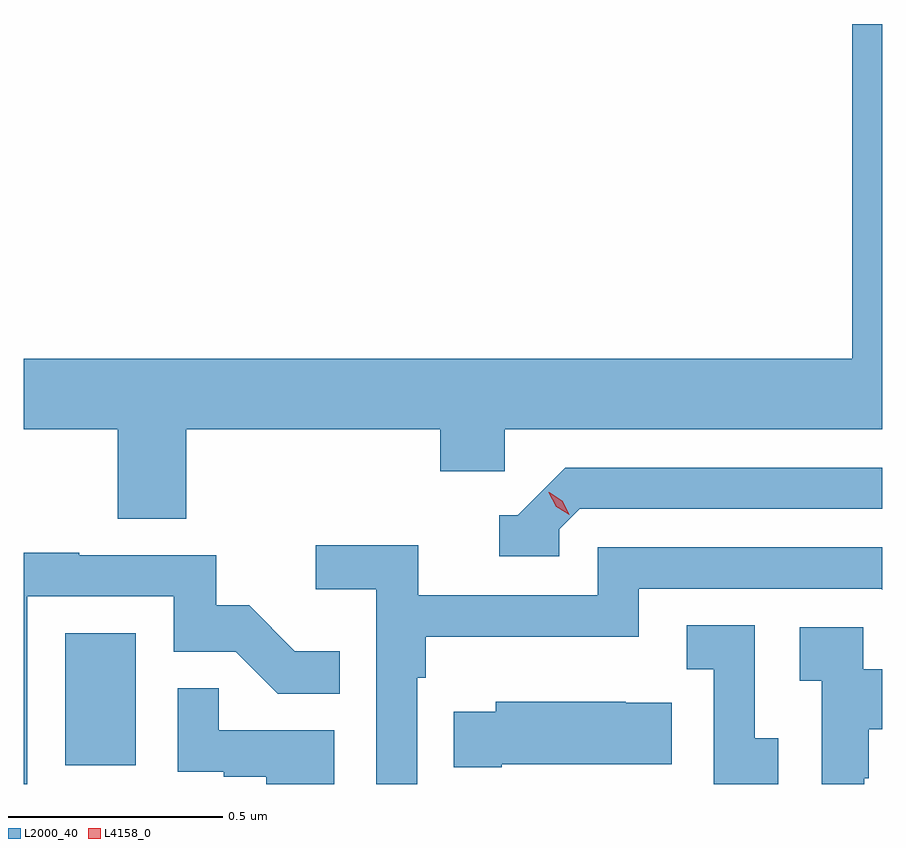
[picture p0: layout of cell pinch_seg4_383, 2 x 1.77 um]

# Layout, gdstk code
import gdstk
lib = gdstk.Library(unit=1e-6, precision=1e-09)
def R(c, l, rs):  # rectangles x0, y0, x1, y1
    for r in rs: c.add(gdstk.rectangle(r[:2], r[2:], *l))
def P(c, l, *ps):  # polygons
    for p in ps: c.add(gdstk.Polygon(p, *l))
L2000_40 = (2000, 40)
L4158_0 = (4158, 0)

pinch_seg4_383 = lib.new_cell('pinch_seg4_383')
R(pinch_seg4_383, L2000_40, [(969.404,769.398,969.568,769.705)])
P(pinch_seg4_383, L2000_40, [(969.686,770.18),(970.277,770.18),(970.277,770.082),(970.428,770.082),(970.428,770.18),(971.307,770.18),(971.307,771.124),(971.237,771.124),(971.237,770.344),(969.307,770.344),(969.307,770.18),(969.526,770.18),(969.526,769.972),(969.686,769.972)],
  [(970.554,769.947),(970.602,769.995),(971.307,769.995),(971.307,770.091),(970.569,770.091),(970.458,769.98),(970.415,769.98),(970.415,769.884),(970.554,769.884)],
  [(970.224,769.601),(970.244,769.601),(970.244,769.697),(970.74,769.697),(970.74,769.809),(971.304,769.809),(971.307,769.806),(971.307,769.905),(970.644,769.905),(970.644,769.794),(970.226,769.794),(970.226,769.91),(969.987,769.91),(969.987,769.808),(970.128,769.808),(970.128,769.354),(970.224,769.354)],
  [(969.315,769.791),(969.657,769.791),(969.657,769.662),(969.801,769.662),(969.899,769.564),(970.043,769.564),(970.043,769.663),(969.939,769.663),(969.832,769.77),(969.756,769.77),(969.756,769.887),(969.437,769.887),(969.437,769.892),(969.307,769.892),(969.307,769.354),(969.315,769.354)],
  [(971.065,769.461),(971.01,769.461),(971.01,769.724),(970.851,769.724),(970.851,769.621),(970.914,769.621),(970.914,769.354),(971.065,769.354)],
  [(971.265,769.367),(971.275,769.367),(971.275,769.481),(971.307,769.481),(971.307,769.621),(971.262,769.621),(971.262,769.719),(971.115,769.719),(971.115,769.595),(971.166,769.595),(971.166,769.354),(971.265,769.354)],
  [(970.03,769.479),(969.761,769.479),(969.761,769.577),(969.666,769.577),(969.666,769.383),(969.773,769.383),(969.773,769.371),(969.872,769.371),(969.872,769.354),(970.03,769.354)],
  [(970.42,769.4),(970.817,769.4),(970.817,769.543),(970.709,769.543),(970.709,769.546),(970.407,769.546),(970.407,769.522),(970.309,769.522),(970.309,769.393),(970.42,769.393)])
P(pinch_seg4_383, L4158_0, [(970.578,769.981),(970.547,770),(970.53,770.032),(970.53,770.033),(970.531,770.033),(970.562,770.014),(970.578,769.982),(970.578,769.981)])

lib.write_gds('pinch_seg4_383.gds')
